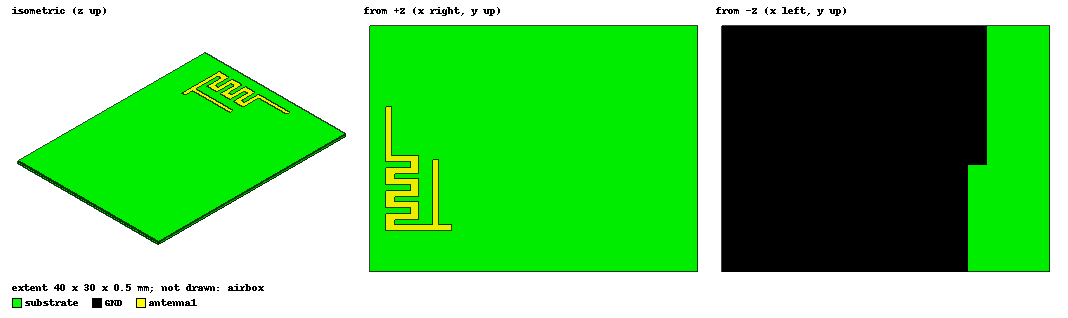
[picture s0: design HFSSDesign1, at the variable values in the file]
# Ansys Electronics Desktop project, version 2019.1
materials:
  vacuum: permittivity=1
  FR4_epoxy: permittivity=4.4 dielectric_loss_tangent=0.02
  copper: permeability=0.999991 conductivity=58000000
  air: permittivity=1.0006 permeability=1.0000004

design HFSSDesign1 (HFSS, DrivenModal, model units mm)
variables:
  lambda = 60mm
  L1 = 8mm
  l2 = 6mm
  D = 0.7mm
  H1 = 8mm
  H2 = 4mm
  SY = 40mm
  SX = 30mm
  h = 0.5mm
  W = 1mm
  H3 = 1.6mm
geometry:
  substrate [FR4_epoxy] = box(corner=(30mm, -5mm, 0mm), size=(-Sy, SX, h))
  GND = rectangle(corner=(30mm, -5mm, 0mm), x_size=10mm-SY, y_size=SX)
  antenna1 = rectangle(corner=(0mm, 0mm, h), x_size=-H1, y_size=D)
  antenna2 = rectangle(corner=(-H1, D, h), x_size=W, y_size=D)
  antenna3 = rectangle(corner=(-H1, D*2, h), x_size=H2, y_size=D)
  antenna4 = rectangle(corner=(-H1+H2, D*3, h), x_size=-W, y_size=D)
  antenna5 = rectangle(corner=(-H1+H2, D*4, h), x_size=-H2, y_size=D)
  antenna5.unite(antenna4, antenna3, antenna2)
  antenna5_1 = antenna5.duplicate_along_line(step=(0mm, 4*D, 0mm), total=2)
  antenna5_1_1 = antenna5_1.duplicate_along_line(step=(0mm, 4*d, 0mm), total=2)
  antenna6 = rectangle(corner=(-H1, 13*d, h), x_size=D, y_size=l2)
  Rectangle1 = rectangle(corner=(-H3, d, h), x_size=-D, y_size=L1)
  antenna1.unite(antenna5, antenna5_1, antenna5_1_1, antenna6, Rectangle1)
  GND1 = rectangle(corner=(0mm, SX-5mm, 0mm), x_size=-H3-D, y_size=-SX+5mm+L1)
  port = rectangle(corner=(0mm, 0mm, h), y_size=D, z_size=-h)
  via [copper] = cylinder(axis=Z, base_centre=(-h3-d/2, L1+d/2, 0mm), radius=d/2, height=h)
  GND.unite(GND1)
  airbox [air] = box(corner=(lambda/2+SY-10mm, -lambda/2-5mm, -lambda/2), size=(-lambda/1-SY, lambda/1+SX, lambda/1+h))
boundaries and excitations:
  Rad1: Radiation Objects=airbox
  FiniteCond1: Finite Conductivity Objects=[antenna1, GND] UseMaterial Material=copper IsInternal
  1: Lumped Port Objects=port Modes{Mode1{IntLine{middle of port.edge(z at corner) -> middle of port.edge(z opposite corner)} CharImp=Zpi RenormImp=50ohm}} Impedance=50ohm
  reference conductors: antenna1
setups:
  Setup1: HfssDriven Frequency=2.4GHz MaxDeltaS=0.02 MaximumPasses=10 MinimumPasses=1 MinimumConvergedPasses=1 PercentRefinement=30 BasisOrder=1 PortAccuracy=2
    sweep Sweep: 1.8GHz to 3GHz step 0.02GHz; Type=Interpolating InterpTolerance=0.5 InterpMaxSolns=250 InterpUsePortImped=false PassivityErrorTolerance=0.0001
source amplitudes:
  1:1: 1W 0deg
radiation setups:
  Infinite Sphere1: Infinite Sphere Theta=0deg..180deg step 1deg Phi=-180deg..180deg step 1deg
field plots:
  Vector_Jsurf1: Jsurf over antenna1.face(at (-4, 0.35, 0.5)) on Setup1 : LastAdaptive at Freq=2.4GHz Phase=0deg
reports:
  S Parameter Plot 1: dB(S(1,1)) vs Freq on Setup1 : Sweep
  Gain Plot 1: dB(GainTotal) vs Phi, Theta on Setup1 : LastAdaptive, Infinite Sphere1 [Freq=2.4GHz]
